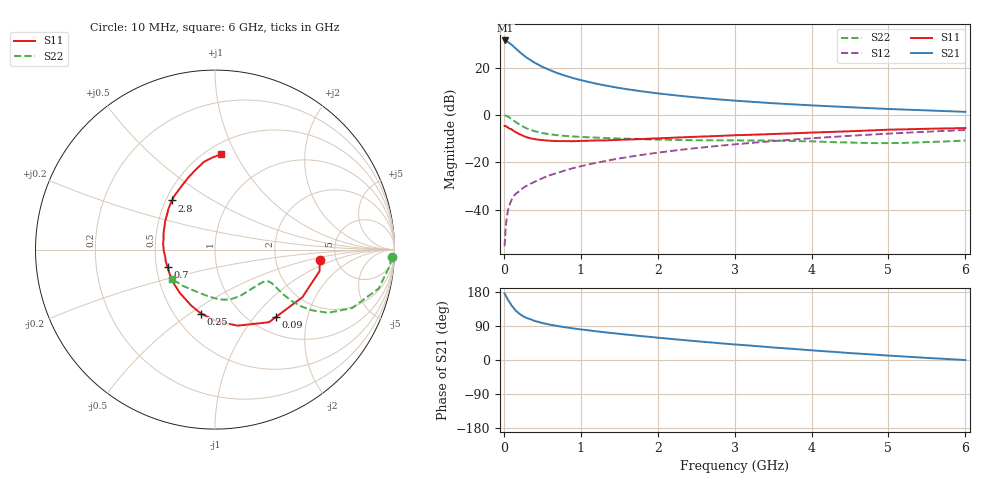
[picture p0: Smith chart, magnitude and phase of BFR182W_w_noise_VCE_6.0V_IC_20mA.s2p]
! Infineon Technologies  Discrete & RF Semiconductors
! BFR182W
! VCE =  6.0 V,  IC =  20 mA
! Common Emitter S-Parameters:  Jan 2017
# GHz  S  MA  R  50
!  f  S11  S21  S12  S22
! GHz  MAG  ANG  MAG  ANG  MAG  ANG  MAG  ANG
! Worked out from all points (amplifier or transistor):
!   77 points, 10 MHz to 6 GHz, reference 50 ohm
!   highest |S21| = 31.5 dB at 20 MHz (marker M1)
!   |S21| within 3 dB of that: start of sweep to 141 MHz
!   unconditionally stable (mu >= 1): 839 MHz to 2.359 GHz
!   at 130 MHz: K = 0.42, MSG = 31.6 dB, |S12| = -34.3 dB
!   at 2.2 GHz: K = 1.01, MAG = 11.1 dB, |S12| = -15.1 dB
!   at 6 GHz: K = 0.87, MSG = 3.8 dB, |S12| = -6.3 dB
!   lowest NFmin = 1.41 dB at 450 MHz
!   S11 on the Smith chart (normalised r, x): 10 MHz: 3.72, -0.67; 90 MHz: 1.28, -1.30; 250 MHz: 0.67, -0.55; 700 MHz: 0.57, -0.12; 2.8 GHz: 0.54, +0.34; 6 GHz: 0.59, +0.88
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0.01  0.5877 -5.8  37.77 175.2  0.0017 94.0  0.9863 -2.5
0.02  0.5947 -11.6  37.79 171.5  0.0033 82.7  0.9769 -5.5
0.05  0.5546 -28.5  35.61 159.9  0.009 75.1  0.9377 -13.3
0.09  0.5061 -48.1  31.6 147.2  0.0148 71.6  0.8501 -20.9
0.1  0.5042 -53.4  30.88 143.6  0.0162 71.1  0.8309 -23.1
0.15  0.4425 -73.3  25.96 131.3  0.0214 67.1  0.7221 -29.2
0.2  0.3979 -89.2  21.91 122.4  0.0247 65.7  0.6363 -32.1
0.25  0.3653 -102.2  18.76 115.6  0.029 64.4  0.5713 -33.4
0.3  0.3393 -112.8  16.25 110.6  0.0323 64.4  0.5208 -33.8
0.4  0.311 -129.1  12.8 103.0  0.0388 65.9  0.4572 -33.3
0.5  0.2962 -141.7  10.48 97.6  0.0463 67.4  0.4184 -32.3
0.6  0.2867 -151.5  8.885 93.3  0.0537 68.1  0.3928 -31.4
0.7  0.2824 -159.5  7.684 89.6  0.0604 69.7  0.3754 -30.7
0.9  0.2803 -172.1  6.052 83.4  0.0756 70.3  0.3538 -30.6
1.1  0.2873 177.7  5.017 78.3  0.0905 70.6  0.3402 -31.3
1.5  0.3003 162.6  3.745 69.1  0.1213 69.9  0.3203 -34.9
2.1  0.3271 145.8  2.762 57.1  0.1685 66.7  0.3016 -44.7
2.8  0.3636 131.1  2.144 44.4  0.2246 62.0  0.2933 -59.7
3.1  0.3792 125.3  1.973 39.6  0.249 59.6  0.2912 -65.9
4.1  0.4324 109.2  1.576 24.1  0.332 51.2  0.275 -87.1
5.1  0.4959 96.2  1.328 10.4  0.4137 41.7  0.257 -117.9
6  0.5328 86.2  1.172 -0.1  0.4838 32.6  0.2901 -145.4
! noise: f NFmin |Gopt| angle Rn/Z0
0.45  1.41  0.11  -176  0.15
0.9  1.49  0.11  -171  0.15
1.9  2  0.28  -142  0.16
2.4  2.26  0.29  -128  0.26
